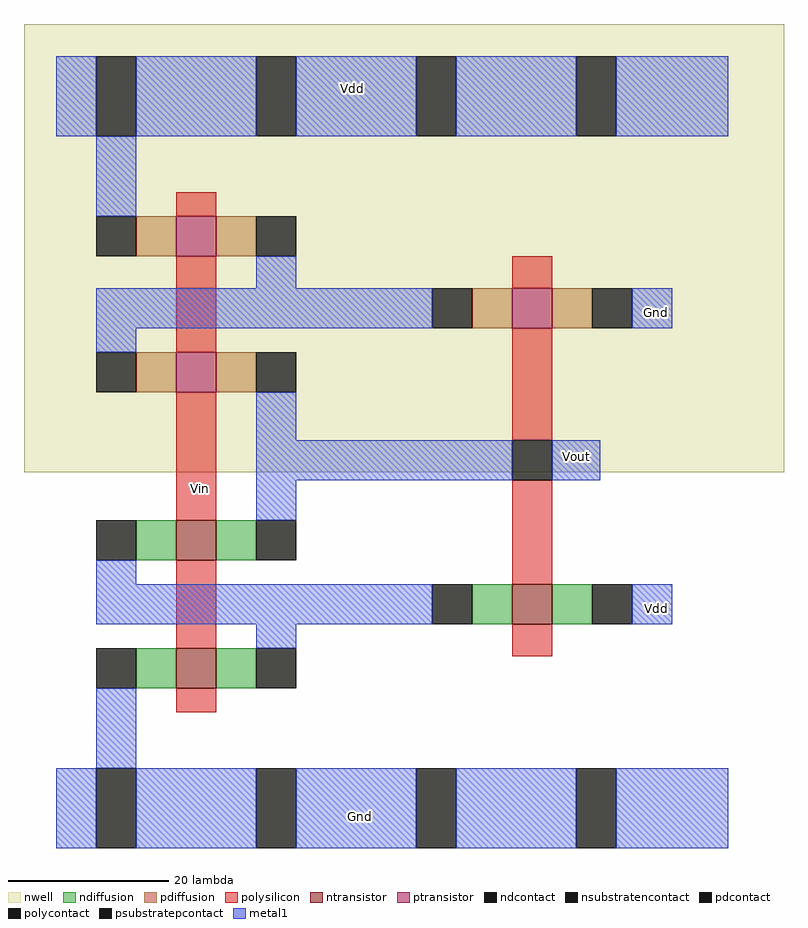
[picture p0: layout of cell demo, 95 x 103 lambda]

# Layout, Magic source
magic
tech min
<< nwell >>
rect -29 12 66 68
<< polysilicon >>
rect -10 44 -5 47
rect -10 27 -5 39
rect 32 35 37 39
rect -10 6 -5 22
rect 32 16 37 30
rect -10 -10 -5 1
rect 32 -2 37 11
rect 32 -11 37 -7
rect -10 -18 -5 -15
<< ndiffusion >>
rect -15 1 -10 6
rect -5 1 0 6
rect 27 -7 32 -2
rect 37 -7 42 -2
rect -15 -15 -10 -10
rect -5 -15 0 -10
<< pdiffusion >>
rect -15 39 -10 44
rect -5 39 0 44
rect 27 30 32 35
rect 37 30 42 35
rect -15 22 -10 27
rect -5 22 0 27
<< metal1 >>
rect -25 54 -20 64
rect -15 54 0 64
rect 5 54 20 64
rect 25 54 40 64
rect 45 54 59 64
rect -20 44 -15 54
rect 0 35 5 39
rect -20 30 22 35
rect 47 30 52 35
rect -20 27 -15 30
rect 0 16 5 22
rect 0 11 32 16
rect 37 11 43 16
rect 0 6 5 11
rect -20 -2 -15 1
rect -20 -7 22 -2
rect 47 -7 52 -2
rect 0 -10 5 -7
rect -20 -25 -15 -15
rect -25 -35 -20 -25
rect -15 -35 0 -25
rect 5 -35 20 -25
rect 25 -35 40 -25
rect 45 -35 59 -25
<< ntransistor >>
rect -10 1 -5 6
rect 32 -7 37 -2
rect -10 -15 -5 -10
<< ptransistor >>
rect -10 39 -5 44
rect 32 30 37 35
rect -10 22 -5 27
<< polycontact >>
rect 32 11 37 16
<< ndcontact >>
rect -20 1 -15 6
rect 0 1 5 6
rect 22 -7 27 -2
rect 42 -7 47 -2
rect -20 -15 -15 -10
rect 0 -15 5 -10
<< pdcontact >>
rect -20 39 -15 44
rect 0 39 5 44
rect 22 30 27 35
rect 42 30 47 35
rect -20 22 -15 27
rect 0 22 5 27
<< psubstratepcontact >>
rect -20 -35 -15 -25
rect 0 -35 5 -25
rect 20 -35 25 -25
rect 40 -35 45 -25
<< nsubstratencontact >>
rect -20 54 -15 64
rect 0 54 5 64
rect 20 54 25 64
rect 40 54 45 64
<< labels >>
rlabel metal1 12 60 12 60 1 Vdd
rlabel metal1 50 -5 50 -5 1 Vdd
rlabel metal1 13 -31 13 -31 1 Gnd
rlabel metal1 50 32 50 32 1 Gnd
rlabel polysilicon -7 10 -7 10 1 Vin
rlabel metal1 40 14 40 14 1 Vout
<< end >>
